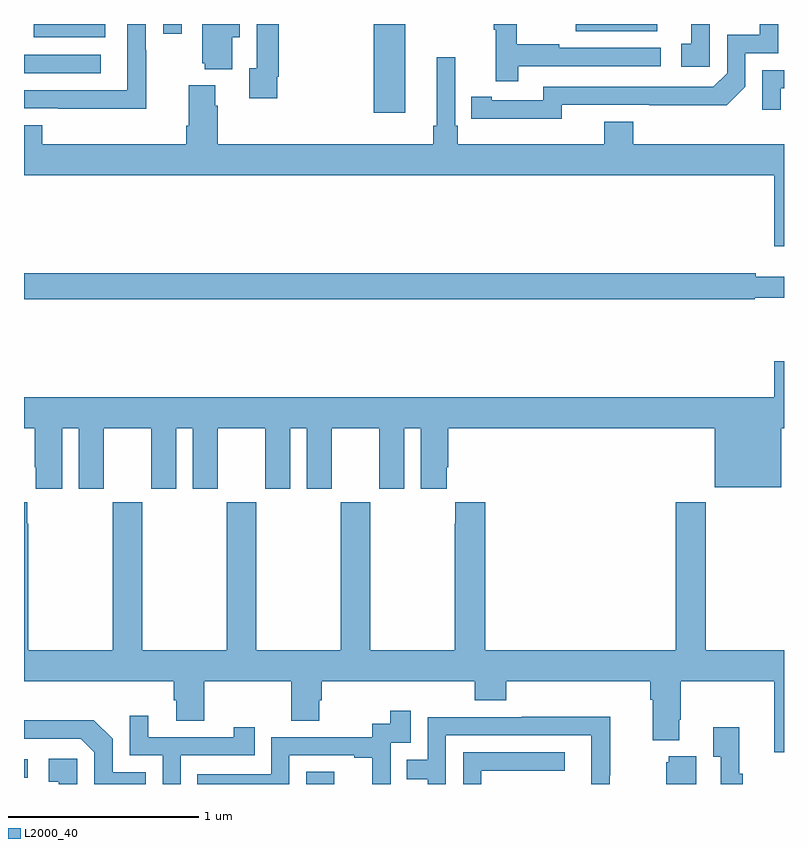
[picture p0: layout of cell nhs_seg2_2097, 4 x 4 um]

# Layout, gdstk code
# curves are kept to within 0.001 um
import gdstk
lib = gdstk.Library(unit=1e-6, precision=1e-09)
def R(c, l, rs):  # rectangles x0, y0, x1, y1
    for r in rs: c.add(gdstk.rectangle(r[:2], r[2:], *l))
def P(c, l, *ps):  # polygons
    for p in ps: c.add(gdstk.Polygon(p, *l))
L2000_40 = (2000, 40)

nhs_seg2_2097 = lib.new_cell('nhs_seg2_2097')
R(nhs_seg2_2097, L2000_40, [(222.486,609.8,222.634,609.865), (221,609.834,221.02,609.93), (222.842,613.332,223.006,613.8), (221,613.542,221.404,613.638), (221.05,613.73,221.428,613.8), (221.733,613.749,221.829,613.8), (223.905,613.763,224.332,613.8)])
P(nhs_seg2_2097, L2000_40, [(222.097,613.73),(222.136,613.73),(222.136,613.8),(221.939,613.8),(221.939,613.593),(221.951,613.593),(221.951,613.562),(222.097,613.562)],
  [(222.334,613.522),(222.341,613.522),(222.341,613.8),(222.225,613.8),(222.225,613.566),(222.185,613.566),(222.185,613.41),(222.334,613.41)],
  [(223.601,613.578),(224.35,613.578),(224.35,613.674),(223.817,613.674),(223.817,613.694),(223.594,613.694),(223.594,613.8),(223.473,613.8),(223.473,613.771),(223.484,613.771),(223.484,613.5),(223.601,613.5)],
  [(224.61,613.8),(224.513,613.8),(224.513,613.695),(224.46,613.695),(224.46,613.575),(224.61,613.575)],
  [(223.83,613.374),(224.698,613.373),(224.796,613.47),(224.796,613.647),(224.97,613.647),(224.97,613.8),(224.873,613.8),(224.873,613.743),(224.7,613.743),(224.7,613.542),(224.628,613.47),(223.734,613.47),(223.734,613.398),(223.462,613.398),(223.462,613.418),(223.354,613.418),(223.354,613.302),(223.83,613.301)],
  [(221.643,613.661),(221.64,613.661),(221.64,613.8),(221.544,613.8),(221.544,613.452),(221,613.452),(221,613.356),(221.179,613.356),(221.179,613.355),(221.643,613.355)],
  [(225,613.168),(224.207,613.168),(224.207,613.285),(224.054,613.285),(224.054,613.168),(223.283,613.168),(223.283,613.264),(223.269,613.264),(223.269,613.624),(223.172,613.624),(223.172,613.264),(223.153,613.264),(223.153,613.168),(222.02,613.168),(222.02,613.37),(222.007,613.37),(222.007,613.477),(221.867,613.477),(221.867,613.264),(221.855,613.264),(221.855,613.168),(221.096,613.168),(221.096,613.267),(221,613.267),(221,613.004),(224.948,613.004),(224.948,612.63),(225,612.63)],
  [(224.983,613.461),(225,613.461),(225,613.557),(224.886,613.557),(224.886,613.35),(224.983,613.35)],
  [(224.846,612.36),(225,612.36),(225,612.469),(224.852,612.469),(224.852,612.488),(221,612.488),(221,612.352),(224.846,612.352)],
  [(221,611.672),(221.057,611.672),(221.057,611.467),(221.063,611.467),(221.063,611.355),(221.2,611.355),(221.2,611.672),(221.288,611.672),(221.288,611.355),(221.419,611.355),(221.419,611.672),(221.669,611.672),(221.669,611.355),(221.8,611.355),(221.8,611.672),(221.888,611.672),(221.888,611.355),(222.019,611.355),(222.019,611.672),(222.269,611.672),(222.269,611.355),(222.4,611.355),(222.4,611.672),(222.488,611.672),(222.488,611.355),(222.619,611.355),(222.619,611.672),(222.869,611.672),(222.869,611.355),(223,611.355),(223,611.672),(223.088,611.672),(223.088,611.355),(223.225,611.355),(223.225,611.467),(223.232,611.467),(223.232,611.672),(224.636,611.672),(224.636,611.363),(224.986,611.363),(224.986,611.672),(225,611.672),(225,612.025),(224.948,612.025),(224.948,611.836),(221,611.836)],
  [(225,610.504),(224.589,610.504),(224.589,611.284),(224.429,611.284),(224.429,610.504),(223.427,610.504),(223.427,611.284),(223.271,611.284),(223.271,611.171),(223.267,611.171),(223.267,610.504),(222.822,610.504),(222.822,611.284),(222.667,611.284),(222.667,610.504),(222.222,610.504),(222.222,611.284),(222.067,611.284),(222.067,610.504),(221.622,610.504),(221.622,611.284),(221.467,611.284),(221.467,610.504),(221.022,610.504),(221.022,611.171),(221.017,611.171),(221.017,611.284),(221,611.284),(221,610.34),(221.789,610.34),(221.789,610.242),(221.801,610.242),(221.801,610.132),(221.949,610.132),(221.949,610.34),(222.406,610.34),(222.406,610.132),(222.553,610.132),(222.553,610.242),(222.566,610.242),(222.566,610.34),(223.373,610.34),(223.373,610.241),(223.538,610.241),(223.538,610.34),(224.297,610.34),(224.297,610.244),(224.309,610.244),(224.309,610.031),(224.449,610.031),(224.449,610.138),(224.457,610.138),(224.457,610.34),(224.948,610.34),(224.948,609.966),(225,609.966)],
  [(222.396,609.951),(222.737,609.951),(222.737,609.939),(222.833,609.939),(222.833,609.8),(222.93,609.8),(222.93,610.017),(223.035,610.017),(223.035,610.186),(222.927,610.186),(222.927,610.116),(222.834,610.116),(222.834,610.047),(222.3,610.047),(222.3,609.852),(221.911,609.852),(221.911,609.8),(222.396,609.8)],
  [(221.826,609.951),(222.215,609.951),(222.215,610.099),(222.104,610.099),(222.104,610.047),(221.653,610.047),(221.653,610.159),(221.556,610.159),(221.556,609.951),(221.73,609.951),(221.73,609.8),(221.826,609.8)],
  [(223.221,610.056),(223.986,610.056),(223.986,609.8),(224.082,609.8),(224.082,609.847),(224.085,609.847),(224.085,610.154),(223.621,610.154),(223.621,610.152),(223.125,610.152),(223.125,609.927),(223.015,609.927),(223.015,609.826),(223.125,609.826),(223.125,609.8),(223.221,609.8)],
  [(221.64,609.861),(221.466,609.861),(221.466,610.038),(221.368,610.136),(221,610.136),(221,610.038),(221.298,610.038),(221.37,609.966),(221.37,609.8),(221.64,609.8)],
  [(224.783,609.854),(224.765,609.854),(224.765,610.099),(224.627,610.099),(224.627,609.943),(224.667,609.943),(224.667,609.8),(224.783,609.8)],
  [(223.407,609.87),(223.846,609.87),(223.846,609.966),(223.311,609.966),(223.311,609.8),(223.407,609.8)],
  [(224.539,609.946),(224.393,609.946),(224.393,609.915),(224.381,609.915),(224.381,609.8),(224.539,609.8)],
  [(221.28,609.934),(221.13,609.934),(221.13,609.813),(221.183,609.813),(221.183,609.8),(221.28,609.8)])

lib.write_gds('nhs_seg2_2097.gds')
